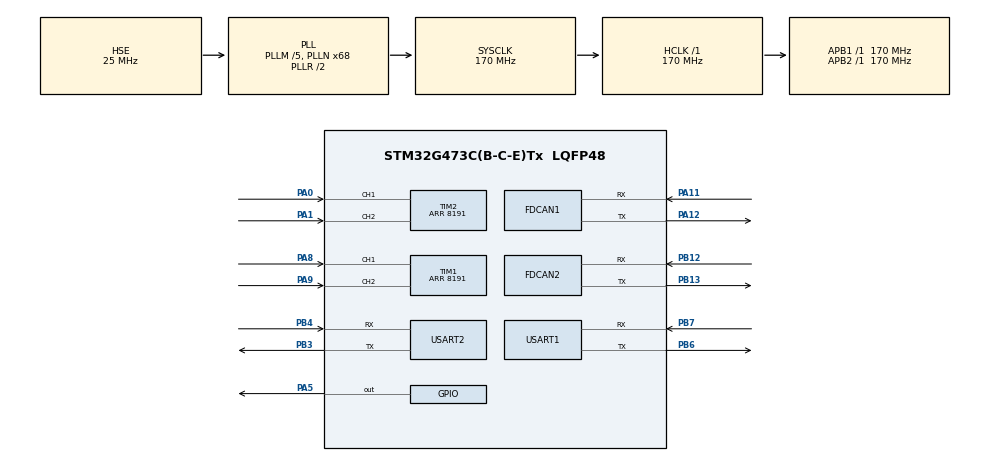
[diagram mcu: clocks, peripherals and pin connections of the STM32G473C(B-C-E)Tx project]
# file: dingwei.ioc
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FDCAN1.CalculateBaudRateNominal=1000000
FDCAN1.CalculateTimeBitNominal=1000
FDCAN1.CalculateTimeQuantumNominal=100.0
FDCAN1.DataPrescaler=8
FDCAN1.DataTimeSeg1=10
FDCAN1.DataTimeSeg2=5
FDCAN1.FrameFormat=FDCAN_FRAME_FD_BRS
FDCAN1.NominalPrescaler=17
FDCAN1.NominalTimeSeg1=6
FDCAN1.NominalTimeSeg2=3
FDCAN2.CalculateBaudRateNominal=1000000
FDCAN2.CalculateTimeBitNominal=1000
FDCAN2.CalculateTimeQuantumNominal=100.0
FDCAN2.DataPrescaler=8
FDCAN2.DataTimeSeg1=10
FDCAN2.DataTimeSeg2=5
FDCAN2.FrameFormat=FDCAN_FRAME_FD_BRS
FDCAN2.NominalPrescaler=17
FDCAN2.NominalTimeSeg1=6
FDCAN2.NominalTimeSeg2=3
Mcu.Family=STM32G4
Mcu.Name=STM32G473C(B-C-E)Tx
Mcu.Package=LQFP48
NVIC.FDCAN1_IT0_IRQn=true\:0\:0\:false\:false\:true\:true\:true\:true
NVIC.FDCAN2_IT0_IRQn=true\:0\:0\:false\:false\:true\:true\:true\:true
NVIC.PriorityGroup=NVIC_PRIORITYGROUP_4
NVIC.TIM1_BRK_TIM15_IRQn=true\:0\:0\:false\:false\:true\:true\:true\:true
NVIC.TIM1_CC_IRQn=true\:0\:0\:false\:false\:true\:true\:true\:true
NVIC.TIM1_TRG_COM_TIM17_IRQn=true\:0\:0\:false\:false\:true\:true\:true\:true
NVIC.TIM1_UP_TIM16_IRQn=true\:0\:0\:false\:false\:true\:true\:true\:true
NVIC.TIM2_IRQn=true\:0\:0\:false\:false\:true\:true\:true\:true
NVIC.USART1_IRQn=true\:0\:0\:false\:false\:true\:true\:true\:true
NVIC.USART2_IRQn=true\:0\:0\:false\:false\:true\:true\:true\:true
PA0.GPIO_ModeDefaultPP=GPIO_MODE_AF_PP
PA0.GPIO_PuPd=GPIO_PULLUP
PA0.Signal=S_TIM2_CH1
PA1.GPIO_PuPd=GPIO_NOPULL
PA1.Signal=S_TIM2_CH2
PA11.Mode=FDCAN_Activate
PA11.Signal=FDCAN1_RX
PA12.Mode=FDCAN_Activate
PA12.Signal=FDCAN1_TX
PA13.Mode=Serial_Wire
PA13.Signal=SYS_JTMS-SWDIO
PA14.Mode=Serial_Wire
PA14.Signal=SYS_JTCK-SWCLK
PA5.Signal=GPIO_Output
PA8.Signal=S_TIM1_CH1
PA9.Signal=S_TIM1_CH2
PB12.Mode=FDCAN_Activate
PB12.Signal=FDCAN2_RX
PB13.Mode=FDCAN_Activate
PB13.Signal=FDCAN2_TX
PB3.Mode=Asynchronous
PB3.Signal=USART2_TX
PB4.Mode=Asynchronous
PB4.Signal=USART2_RX
PB6.Mode=Asynchronous
PB6.Signal=USART1_TX
PB7.Mode=Asynchronous
PB7.Signal=USART1_RX
PF0-OSC_IN.Mode=HSE-External-Oscillator
PF0-OSC_IN.Signal=RCC_OSC_IN
PF1-OSC_OUT.Mode=HSE-External-Oscillator
PF1-OSC_OUT.Signal=RCC_OSC_OUT
ProjectManager.HeapSize=0x200
ProjectManager.StackSize=0x400
ProjectManager.TargetToolchain=MDK-ARM V5.32
RCC.ADC12Freq_Value=170000000
RCC.ADC345Freq_Value=170000000
RCC.AHBFreq_Value=170000000
RCC.APB1Freq_Value=170000000
RCC.APB1TimFreq_Value=170000000
RCC.APB2Freq_Value=170000000
RCC.APB2TimFreq_Value=170000000
RCC.CortexFreq_Value=170000000
RCC.EXTERNAL_CLOCK_VALUE=12288000
RCC.HCLKFreq_Value=170000000
RCC.HSE_VALUE=25000000
RCC.HSI48_VALUE=48000000
RCC.HSI_VALUE=16000000
RCC.LSE_VALUE=32768
RCC.PLLM=RCC_PLLM_DIV5
RCC.PLLN=68
RCC.PLLSourceVirtual=RCC_PLLSOURCE_HSE
RCC.SYSCLKFreq_VALUE=170000000
RCC.SYSCLKSource=RCC_SYSCLKSOURCE_PLLCLK
RCC.USBFreq_Value=170000000
RCC.VCOOutputFreq_Value=340000000
SH.S_TIM1_CH1.0=TIM1_CH1,Encoder_Interface
SH.S_TIM1_CH2.0=TIM1_CH2,Encoder_Interface
SH.S_TIM2_CH1.0=TIM2_CH1,Encoder_Interface
SH.S_TIM2_CH2.0=TIM2_CH2,Encoder_Interface
TIM1.Dithering=Disable
TIM1.EncoderMode=TIM_ENCODERMODE_TI12
TIM1.IC1Filter=15
TIM1.IC2Filter=15
TIM1.PeriodNoDither=8191
TIM2.EncoderMode=TIM_ENCODERMODE_TI12
TIM2.IC1Filter=15
TIM2.IC2Filter=15
TIM2.PeriodNoDither=8191
USART1.VirtualMode-Asynchronous=VM_ASYNC
USART2.VirtualMode-Asynchronous=VM_ASYNC
VP_SYS_VS_DBSignals.Mode=DisableDeadBatterySignals
board=custom

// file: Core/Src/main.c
/* USER CODE BEGIN Header */
/**
  ******************************************************************************
  * @file           : main.c
  * @brief          : Main program body
  ******************************************************************************
  * @attention
  *
  * Copyright (c) 2024 STMicroelectronics.
  * All rights reserved.
  *
  * This software is licensed under terms that can be found in the LICENSE file
  * in the root directory of this software component.
  * If no LICENSE file comes with this software, it is provided AS-IS.
  *
  ******************************************************************************
  */
/* USER CODE END Header */
#include "main.h"
#include "fdcan.h"
#include "tim.h"
#include "usart.h"
#include "gpio.h"

/* USER CODE BEGIN Includes */
#include "math.h"
#include "stdarg.h"
#include "stdio.h"
#include "string.h"
#include "stm32g4xx_hal_fdcan.h"
#include "jiguang_relocate.h"
//#define floatingtest
/* USER CODE END Includes */

/* USER CODE BEGIN PTD */
#define dis1_0 1
#define dis2_0 1
#define dis3_0 1
/* USER CODE END PTD */

void SystemClock_Config(void);

/* USER CODE BEGIN 0 */
//#define jiaozhun

struct GyroResult gyroResult;
struct EncoderResult encoderRes;
struct LocatorResult lcResult;
struct GyroResult timerGyroResult;
struct EncoderResult timerEncResult;
struct LocatorResult timerlcResult;
struct EncoderResult lastEncResult;
struct GyroResult lastGyroResult;
int32_t QEI_pulse[2] = {0};
double vx_dis=0,vy_dis=0,vr_ang=0;
double total_x[5]={0},total_y[5]={0},total_r[5]={0};
int v_n=0;
int send_times=0;
uint8_t restart_flag=0;
int gyroloop=0;
int cnt1=0;
#ifdef jiaozhun
	double floating=0;
	double floating_total=0;
	int cnt=0;
	int cnt_p=0;  //正转计数
	int cnt_n=0;  //反转计数
	int pulse_out=0;
	int jiaozhun_flag=0;
	float ang_total=0;
	int start_flag_jiaozhun=1;
	float gyro_angle_jiaozhun=0;
	float last_angle_jiaozhun=0;
	float gyro_angle_jiaozhun_start=0;
	float del_angle_jiaozhun=0;
	float p_del_angle_jiaozhun_total=0;
	float n_del_angle_jiaozhun_total=0;
	int pulse1_jiaozhun=0;
	int pulse0_jiaozhun=0;
	int pulse1_jiaozhun_start=0;
	int pulse0_jiaozhun_start=0;
	int gyro_start_time_jiaozhun=0;
	int last_out_time=0;
	int now_out_time=0;
	int pulse0_jiaozhun_last=0;
	int pulse1_jiaozhun_last=0;
	#define floating_numbers 10000
#endif
#ifndef jiaozhun
	#define p_rotation_e0 (-11347.224609)
	#define p_rotation_e1 (4312.856445)
	#define n_rotation_e0 (-11465.922852)
	#define n_rotation_e1 (4142.797852)
//	#define p_rotation_e0 (3570.952148)
//	#define p_rotation_e1 (3370.002686)
//	#define n_rotation_e0 (3467.672852)
//	#define n_rotation_e1 (3509.345703)

/*
系数矩阵:
y     e0 e1    0.0139    0.0137
x			     		-0.0137    0.0138
*/
	#define I_mul_x0 (-0.01386101253)
	#define I_mul_x1 (-0.0135421252)
	#define I_mul_y0 (-0.01367515292)
	#define I_mul_y1 ( 0.0139137016)
//	#define I_mul_x0 (-0.01407752897)
//	#define I_mul_x1 ( -0.01417931264)
//	#define I_mul_y0 ( -0.014361242)
//	#define I_mul_y1 (0.01423372233)
#endif

#ifdef jiaozhun
	int p_rotation_e0_total=0;
	int p_rotation_e1_total=0;
	int n_rotation_e0_total=0;
	int n_rotation_e1_total=0;

	float p_rotation_e0=0;
	float p_rotation_e1=0;
	float n_rotation_e0=0;
	float n_rotation_e1=0;

	float I_mul_x0=0;
	float I_mul_x1=0;
	float I_mul_y0=0;
	float I_mul_y1=0;
#endif
//重定向输出   uart3做输入输出交互
void USART_printf(char *fmt, ...)
{
	va_list ap;
	char str[128];

	va_start(ap,fmt);
	vsprintf(str,fmt,ap);
	va_end(ap);
	HAL_UART_Transmit(&huart2, (uint8_t*)str, strlen(str),0xFFFF);
}

//耦合时用到的一些参数
int data_state=0;   	//获取数据状态  0表示挂起  1表示执行
int cal_state=0;		//计算状态		0表示挂起  1表示执行
int gyro_update=0;
int encoder_updata=0;
int gyro_start=0;
int if_gyro_err=0;

volatile float del_encoder0=0;
volatile float del_encoder1=0;

//Pc交互
uint8_t Pc_buffer[2]={0,0};

//陀螺仪数据获取以及姿态解算的一些函数和变量
/**********************************************************************************************************************************/
volatile uint8_t gyro_buffer[33];
uint8_t if_gyro_right=0;
//陀螺仪角度值；
float gyro_angle=0;
float q_angle[4]={1,0,0,0};     //旋转四元数
float Gyro_v[3]={0,0,0};        //分别对应绕x y z旋转的角速度
float Gyro_a[3]={0,0,0};        //分别对应沿x轴 y轴 z轴方向的加速度
float gyro_dealt_t=0;	        //用于存间隔时间
float gyro_start_time=0;		//用于记录初始时间，解决零漂
float gyrotime=0;	        	//记录陀螺仪时间戳
float gyro_lasttime=0;			//记录上次获取陀螺仪的时间戳
int if_gyro_start_first=1;		//初始时间用到的标志位
uint32_t gyro_vel[3]={0,0,0};   //用于接收角速度数据
uint32_t gyro_a[3]={0,0,0};     //用于接收轴向加速度数据
float accex=0;					//用于存储误差积分值
float accey=0;
float accez=0;

//获取陀螺仪数据，三个角速度以及三个轴向加速度
void get_gyro_data()
{
	gyro_vel[0]=(gyro_buffer[5]<<24) | (gyro_buffer[4]<<16)|(gyro_buffer[3]<<8)|gyro_buffer[2];
	gyro_vel[1]=(gyro_buffer[9]<<24) | (gyro_buffer[8]<<16)|(gyro_buffer[7]<<8)|gyro_buffer[6];
	gyro_vel[2]=(gyro_buffer[13]<<24) | (gyro_buffer[12]<<16)|(gyro_buffer[11]<<8)|gyro_buffer[10];
	gyro_a[0]=(gyro_buffer[17]<<24) | (gyro_buffer[16]<<16)|(gyro_buffer[15]<<8)|gyro_buffer[14];
	gyro_a[1]=(gyro_buffer[21]<<24) | (gyro_buffer[20]<<16)|(gyro_buffer[19]<<8)|gyro_buffer[18];
	gyro_a[2]=(gyro_buffer[25]<<24) | (gyro_buffer[24]<<16)|(gyro_buffer[23]<<8)|gyro_buffer[22];
	for(int i=0;i<3;i++)
	{
		Gyro_v[i]=(*((float *)(&gyro_vel[i])))*0.01745329252;  //转化为弧度
		Gyro_a[i]=*((float *)(&gyro_a[i]));
	}
	Gyro_a[0]*=-1;
	Gyro_a[2]*=-1;
	Gyro_v[0]*=-1;
	Gyro_v[2]*=-1;
	 if(Gyro_v[2]>4.98||Gyro_v[2]<-4.98)
	{
		if_gyro_err=1;
		//#ifdef jiaozhun
		USART_printf("err  v=%.5f\n",Gyro_v[2]);
		//#endif
	}
}

//求平方根倒数函数
static float invSqrt(float x)
{
	float halfx=0.5f*x;
	float y=x;
	long  i=*(long*)&y;
	i=0x5f3759df-(i>>1);
	y=*(float*)&i;
	y=y*(1.5f-(halfx*y*y));
	return y;
}

//利用加速度进行陀螺仪误差修正    输入时间差；
void gyro_err_clear(float delat_t )
{
	//加速度归一化

	float xishu=invSqrt(Gyro_a[0]*Gyro_a[0]+Gyro_a[1]*Gyro_a[1]+Gyro_a[2]*Gyro_a[2]);
	Gyro_a[0]*=xishu;
	Gyro_a[1]*=xishu;
	Gyro_a[2]*=xishu;
	//提取姿态矩阵中的重力分量
	float Vx=2*(q_angle[1]*q_angle[3]-q_angle[0]*q_angle[2]);
	float Vy=2*(q_angle[1]*q_angle[0]+q_angle[3]*q_angle[2]);
	float Vz=1-2*(q_angle[1]*q_angle[1]+q_angle[2]*q_angle[2]);
	//USART_printf(" q0=%f\n",q_angle[0]);
	//求出姿态误差
	float ex=Gyro_a[1]*Vz-Gyro_a[2]*Vy;
	float ey=Gyro_a[2]*Vx-Gyro_a[0]*Vz;
	float ez=Gyro_a[0]*Vy-Gyro_a[1]*Vx;
	//USART_printf(" %f\n",ez);
	//误差积分
	float ki=0.001;
	float kp=0.01;

	accex+=ex*ki*delat_t;
	accey+=ey*ki*delat_t;
	accez+=ez*ki*delat_t;

	//角速度修正
	Gyro_v[0]+=kp*ex+accex;
	Gyro_v[1]+=kp*ey+accey;
	Gyro_v[2]+=kp*ez+accez;
	//USART_printf(" v2=%f\n",Gyro_v[2]);

}

//四元数数据更新，输入间隔时间；
void q_angle_update(float delat_t )
{
	q_angle[0]=q_angle[0]+0.5*delat_t*(-1*Gyro_v[0]*q_angle[1]-Gyro_v[1]*q_angle[2]-Gyro_v[2]*q_angle[3]);
	q_angle[1]=q_angle[1]+0.5*delat_t*( 1*Gyro_v[0]*q_angle[0]-Gyro_v[1]*q_angle[3]+Gyro_v[2]*q_angle[2]);
	q_angle[2]=q_angle[2]+0.5*delat_t*( 1*Gyro_v[0]*q_angle[3]+Gyro_v[1]*q_angle[0]-Gyro_v[2]*q_angle[1]);
	q_angle[3]=q_angle[3]+0.5*delat_t*(-1*Gyro_v[0]*q_angle[2]+Gyro_v[1]*q_angle[1]+Gyro_v[2]*q_angle[0]);

	//四元数归一化
	float xishu=invSqrt(q_angle[0]*q_angle[0]+q_angle[1]*q_angle[1]+q_angle[2]*q_angle[2]+q_angle[3]*q_angle[3]);
	for(int i=0;i<=3;i++)
	{
		q_angle[i]*=xishu;
	}
}

//陀螺仪角度的反解
float get_gyro_angle(int i)
{
	float g1=0,g2=0,g3=0,g4=0,g5=0;
  float angle[3]={0};

	g1=2*(q_angle[1]*q_angle[3]-q_angle[0]*q_angle[2]);
	g2=2*(q_angle[1]*q_angle[0]+q_angle[3]*q_angle[2]);
	g3=   q_angle[0]*q_angle[0]-q_angle[1]*q_angle[1]-q_angle[2]*q_angle[2]+q_angle[3]*q_angle[3];
	g4=2*(q_angle[1]*q_angle[2]+q_angle[3]*q_angle[0]);
	g5=   q_angle[0]*q_angle[0]+q_angle[1]*q_angle[1]-q_angle[2]*q_angle[2]-q_angle[3]*q_angle[3];
	//角度值分别对应俯仰角、翻滚角、偏航角；
	angle[0]=-1*asinf(g1);
	angle[1]=atanf(g2/g3);
	angle[2]=atan2f(g4,g5);
	//USART_printf("g5=%f\n",g4/g5);
	return angle[i];
}
//陀螺仪数据更新 ，包含角度值和时间戳的更新
void gyrodata_update()
{
	//USART_printf("get");
	get_gyro_data();
	gyrotime=HAL_GetTick();
	if(if_gyro_start_first)  //获取初始时刻
	{
		gyro_start_time=gyrotime;
		if_gyro_start_first=0;
	}
	gyro_dealt_t=(gyrotime-gyro_lasttime)*0.001;
	gyro_err_clear(gyro_dealt_t);
	q_angle_update(gyro_dealt_t);
	gyro_angle=get_gyro_angle(2);
	//gyro_angle-=0.000617*(gyrotime-gyro_start_time)*0.001; //0.000832 //0.000154
	gyro_angle-=-0.000071*(gyrotime-gyro_start_time)*0.001;
	//USART_printf("angz %f \n",gyro_angle);
	//Gyroz=Gyroz+0.2056-(gyrotime-gyro_lasttime)*0.001*0.0031;
 	if (gyro_angle >= pi)
	{
			gyroloop++;
			gyro_angle -= 2*pi;
	}
	else if (gyro_angle <= -pi)
	{
			gyroloop--;
			gyro_angle += 2*pi;
	}
	gyro_lasttime=gyrotime;
	if_gyro_right=0;
	//y = -0.0434x + 0.0031  角度制下零漂
}

/**********************************************************************************************************************************/

//自动装载次数，正转溢出+1  反转溢出-1；
volatile int32_t ENCODER_overflow_cnt[2] = {-1,-1};
TIM_TypeDef* ENCODER_TIM[2]={TIM1, TIM2};

//计算总脉冲值
int32_t Get_Encoder_Pulse_Count(int i)
{
	return (ENCODER_overflow_cnt[i] * (1 + (ENCODER_TIM[i]->ARR)) + ENCODER_TIM[i]->CNT);    //得到总脉冲数
}

float pos_x=0;
float pos_y=0;
float sum_del_encoder0=0;
float sum_del_encoder1=0;
float sum_del_angle=0;

//void process_locator_data()
//{
//	static double last_encoder_0=0;
//	static double last_encoder_1=0;
//	static float last_angle=0;
//
//	float del_angle=gyro_angle-last_angle;
//	if(del_angle>pi||del_angle<-pi)
//	{
//		if(last_angle<0)            // del_angle > pi  朝着角度减小的方向旋转一个小于pi的角度
//		{
//			last_angle+=2*pi;
//		}
//		else                        //del_angle<-pi    朝着角度增加的方向旋转一个小于pi的角度
//		{
//			last_angle-=2*pi;
//		}
//	}
//	del_angle=gyro_angle-last_angle;     //得到一个正负号和规定角度正负号同相的    小于pi的角度
//	float now_encoder_0=Get_Encoder_Pulse_Count(0);
//	float now_encoder_1=Get_Encoder_Pulse_Count(1);
//	if(del_angle<0.000000001&&del_angle>-0.000000001)
//	{
//		del_encoder0+=(now_encoder_0-last_encoder_0);
//		del_encoder1+=(now_encoder_1-last_encoder_1);
//		last_encoder_0=now_encoder_0;
//		last_encoder_1=now_encoder_1;
//
//		data_state=0;
//		return;
//	}
//	else
//	{
//		sum_del_angle+=del_angle;            //总的角度误差    以及   -pi到pi的归化

//		if(sum_del_angle>pi)
//		{
//			sum_del_angle-=2*pi;
//		}
//		if(sum_del_angle<-pi)
//		{
//			sum_del_angle+=2*pi;
//		}
//		if(del_angle>0)
//		{
//			 del_encoder0+=(now_encoder_0-last_encoder_0-p_rotation_e0*del_angle);
//			 del_encoder1+=(now_encoder_1-last_encoder_1-p_rotation_e1*del_angle);
//		}
//		else
//		{
//			del_encoder0+=(now_encoder_0-last_encoder_0-n_rotation_e0*del_angle);
//			del_encoder1+=(now_encoder_1-last_encoder_1-n_rotation_e1*del_angle);
//		}
//		//now_encoder_0、1  计算中不能被修改
//		last_encoder_0=now_encoder_0;
//		last_encoder_1=now_encoder_1;
//		last_angle=gyro_angle;
//	}
//}
void HAL_UART_RxCpltCallback(UART_HandleTypeDef*huart)
{
//	USART_printf("get");
	if(huart->Instance == USART1)
	{
		//USART_printf("ok");
		if(!if_gyro_right)
		{
//			USART_printf("get3");
			if(gyro_buffer[0]==0xBD)
			{
				if_gyro_right=1;
				//USART_printf("get3");
			}
		}
		else
		{
	//		USART_printf("get2");
			if(!(gyro_buffer[0]==0xDB&&gyro_buffer[1]==0x0A))
			{
				//USART_printf("get2");
				if_gyro_right=0;
				return;
			}
			else
			{
				//USART_printf("wait cal\n");
				data_state=1;
				if(cal_state==1)
				{
					//USART_printf("wait cal\n");
					data_state=0;
					return;
				}
				//USART_printf("gggg");
				gyro_update=1;
				gyrodata_update();
				gyroResult.rotation=gyro_angle;
				gyroResult.loop=gyroloop;
				gyroResult.timeStamp = GenerateTimeStamp();
				double pul0 = Get_Encoder_Pulse_Count(0);
				double pul1 = Get_Encoder_Pulse_Count(1);
				encoderRes.distance[0] += pul0-QEI_pulse[0];
				encoderRes.distance[1] += pul1-QEI_pulse[1];
				QEI_pulse[0] = pul0;
				QEI_pulse[1] = pul1;
				encoderRes.timeStamp = GenerateTimeStamp();
				cnt1++;
				//process_locator_data();
			}
			data_state=0;
		}
		#ifndef jiaozhun
		return;
		#endif
	}
	if(huart->Instance == USART2)
	{

		#ifdef jiaozhun
		if(Pc_buffer[0]=='1'&&Pc_buffer[1]=='s')
		{
			jiaozhun_flag=1;
			start_flag_jiaozhun=1;
			USART_printf("start floating jiaozhun!");

		}
		else if(Pc_buffer[0]=='2'&&Pc_buffer[1]=='s')
		{
			jiaozhun_flag=2;
			start_flag_jiaozhun=1;
			USART_printf("start encoder jiaozhun!");
			pulse_out=1;

		}
		else if(Pc_buffer[0]=='2'&&Pc_buffer[1]=='e')
		{
			jiaozhun_flag=2;
			pulse_out=2;

		}
		else if(Pc_buffer[0]=='3'&&Pc_buffer[1]=='s')
		{
			jiaozhun_flag=3;
			start_flag_jiaozhun=1;
			pulse_out=1;
			USART_printf("start locator jiaozhun!");

		}
		else if(Pc_buffer[0]=='3'&&Pc_buffer[1]=='e')
		{
			jiaozhun_flag=3;
			pulse_out=2;

		}
		else if(Pc_buffer[0]=='4'&&Pc_buffer[1]=='s')
		{
			jiaozhun_flag=4;
			start_flag_jiaozhun=1;
			pulse_out=1;
			USART_printf("start locator jiaozhun!");

		}
		else if(Pc_buffer[0]=='4'&&Pc_buffer[1]=='e')
		{
			jiaozhun_flag=4;
			pulse_out=2;

		}
		else{
			USART_printf("1err\n");
		}
		#endif
        HAL_UART_Receive_IT(&huart2, (uint8_t*) Pc_buffer, 2);
	}
}

//E0 TIM1 A8 A9
//E1 TIM2 A0 A1

void  HAL_TIM_PeriodElapsedCallback(TIM_HandleTypeDef *htim)
{
	//encoder  0   脉冲数
 	if(htim->Instance==TIM1)
	{

		//USART_printf("in\n");
		if(__HAL_TIM_IS_TIM_COUNTING_DOWN(&htim1))
		{
			--ENCODER_overflow_cnt[0];
			//USART_printf("11  %d\n",ENCODER_overflow_cnt[0]);
		}
		else
		{
			++ENCODER_overflow_cnt[0];
			//USART_printf("22  %d\n",ENCODER_overflow_cnt[0]);
		}
//		float pul0 = Get_Encoder_Pulse_Count(0);
//		float pul1 = Get_Encoder_Pulse_Count(1);
//		encoderRes.distance[0] += pul0-QEI_pulse[0];
//		encoderRes.distance[1] += pul1-QEI_pulse[1];
//    QEI_pulse[0] = pul0;
//		QEI_pulse[1] = pul1;
//		encoderRes.timeStamp = GenerateTimeStamp();
	}
	//encoder 1  脉冲数
	if(htim->Instance==TIM2)
	{
		//process_locator_data();
		if(__HAL_TIM_IS_TIM_COUNTING_DOWN(&htim2))
		{
			--ENCODER_overflow_cnt[1];
		}
		else
		{
			++ENCODER_overflow_cnt[1];
		}
//		float pul0 = Get_Encoder_Pulse_Count(0);
//		float pul1 = Get_Encoder_Pulse_Count(1);
//		encoderRes.distance[0] += pul0-QEI_pulse[0];
//		encoderRes.distance[1] += pul1-QEI_pulse[1];
//    QEI_pulse[0] = pul0;
//		QEI_pulse[1] = pul1;
//		encoderRes.timeStamp = GenerateTimeStamp();
	}
}
/*************************************************************/
void LocatorUpdate()
{

	cal_state=1;   //计算坐标时  cal_state=1 now_state=0;
	if(data_state==1)
	{
		cal_state=0;
		//USART_printf("wait get\n");
		return;
	}

	if(gyro_update==0) //cal_state[1]=0;
	{
		cal_state=0;
		//USART_printf("wait gyro\n");
		return;
	}
	else gyro_update=0;

	lcResult.timeStamp = GenerateTimeStamp();
	double dx,dy,dr,sinr,cosr;
	double dz;
	struct GyroResult readGyro = gyroResult;
	struct EncoderResult readEnc = encoderRes;
  struct LocatorResult readlc = lcResult;
  //计算速度
	double deltaTime = TIMESTAMP2SECOND(readlc.timeStamp,timerlcResult.timeStamp);
	if(deltaTime>LOCATOR_MIN_TIMEGAP)
	{
		deltaTime*=5;
		total_x[v_n]=vx_dis;
		total_y[v_n]=vy_dis;
		total_r[v_n]=vr_ang;
		v_n=(v_n==4)?0:(v_n+1);
		for(int n=0;n<=4;n++)
		{
			lcResult.vx+=total_x[n];
			lcResult.vy+=total_y[n];
			lcResult.vAng+=total_r[n];
		}
		lcResult.vx=(total_x[0]+total_x[1]+total_x[2]+total_x[3]+total_x[4])/deltaTime;
		lcResult.vy=(total_y[0]+total_y[1]+total_y[2]+total_y[3]+total_y[4])/deltaTime;
		lcResult.vAng=(total_r[0]+total_r[1]+total_r[2]+total_r[3]+total_r[4])/deltaTime;
		vx_dis=0;
		vy_dis=0;
		vr_ang=0;
		timerlcResult = readlc;

	}

	//dx dy dr
	//dr=readGyro.rotation-lastGyroResult.rotation;
	dr=(readGyro.loop*2*pi+readGyro.rotation)-(lastGyroResult.loop*2*pi+lastGyroResult.rotation);
	if (dr >= pi) dr -= 2*pi;
	else if (dr <= -pi) dr += 2*pi;

	//USART_printf("DR=%.6f",dr);
  lcResult.r += dr;
	vr_ang+=dr;
	if (lcResult.r >= pi) lcResult.r -= 2*pi;
	else if (lcResult.r <= -pi) lcResult.r += 2*pi;

	dx = readEnc.distance[0]-lastEncResult.distance[0];
	dy = readEnc.distance[1]-lastEncResult.distance[1];

	if(dr>0)
	{
		 dx -= p_rotation_e0*dr;
		 dy -= p_rotation_e1*dr;
	}
	else
	{
		 dx -= n_rotation_e0*dr;
		 dy -= n_rotation_e1*dr;
	}

	dz = dx;//using as a buffer
	dx=I_mul_x0*dz+I_mul_x1*dy;
	dy=I_mul_y0*dz+I_mul_y1*dy;

	  //  USART_printf("dx %f   dy %f    r %f\n",dx,dy,lcResult.r);
	dz = dx;//using as a buffer
	sinr = sin(lcResult.r);
	cosr = cos(lcResult.r);
	dx = cosr*dz-sinr*dy;
	//r>0
	dy = sinr*dz+cosr*dy;
//	if(dx>0.1)
//	{
//	USART_printf("dx%f\n",dx);
//	}
	lcResult.x += dx;
	lcResult.y += dy;
	vx_dis+=dx;
	vy_dis+=dy;
	lastEncResult = readEnc;
	lastGyroResult = readGyro;
	if(restart_flag==1)
	{
		//LocatorSystemInitialize();
		lcResult.x=0;
		lcResult.y=0;
		lcResult.r=0;
		restart_flag=0;
	}
	cal_state=0;

}
//float cal_time=0;
//float last_caltime=0;
////获取坐标  posx 和 posy
//void cal_loc()
//{
//	cal_state=1;   //计算坐标时  cal_state=1 now_state=0;
//	now_state=0;
//	if(data_state==1 &&now_state==0)
//	{
//		cal_state=0;
//		return;
//	}
//
//	if(gyro_update==0) //cal_state[1]=0;
//	{
//		cal_state=0;
//		return;
//	}
//	else gyro_update=0;           //update!=0 在此之后变为0
//
//	cal_time=HAL_GetTick();       //获取当前计算时间
//
//	//计算此时的dealt x、y
//	float delx=I_mul_x0*del_encoder0+I_mul_x1*del_encoder1;
//	float dely=I_mul_y0*del_encoder0+I_mul_y1*del_encoder1;
//	sum_del_encoder0+=del_encoder0;
//	sum_del_encoder1+=del_encoder1;
//	del_encoder0=0;
//	del_encoder1=0;
//
//
//
//	pos_x+=	cos(gyro_angle)*delx;   //把正交的两个码盘方向的dealt量 分解到定位坐标系
//	pos_x+=-sin(gyro_angle)*dely;
//	pos_y+=	cos(gyro_angle)*dely;
//	pos_y+=	sin(gyro_angle)*delx;
//
//	last_caltime=cal_time;
//	cal_state=0;
//}

//计算此时角度到上次角度中较小的那个角
//float cal_sum_angle(void)
//{
//	static float last_angle=0;
//	static float sum_angle=0;
//	float angle=gyro_angle;
//	float delta=angle-last_angle;
//	if(delta>pi||delta<-pi)
//	{
//		if(last_angle<0)  last_angle+=2*pi;
//		else last_angle-=2*pi;
//		sum_angle+=(angle-last_angle);
//		last_angle=angle;

//	}
//	else
//	{
//		sum_angle+=delta;
//		last_angle=angle;
//	}
//	return sum_angle;
//}
void LocatorSystemInitialize()
{
    gyroResult.timeStamp = 0;
    gyroResult.rotation = 0;
	  encoderRes.distance[0]=0;
	  encoderRes.distance[1]=0;
	  lcResult.timeStamp=0;
    lcResult.x = 0;
    lcResult.y = 0;
    lcResult.r = 0;
	  lcResult.vx = 0;
    lcResult.vy = 0;
    lcResult.vAng = 0;
	  lastEncResult = encoderRes;
    lastGyroResult = gyroResult;
}
void send_lc(float x ,float y ,float r,float vx,float vy){
	static uint8_t data_byte[8];
	uint8_t datas='a';
//	if(if_gyro_err)
//	{
//		data_byte[0]=0xBD;
//		if_gyro_err=0;
//	}
//	else{

//	}
     int16_t tempx=(int16_t)x;
	uint8_t* tmp1 = (uint8_t*)&tempx;
	data_byte[0] = tmp1[0];
	data_byte[1] = tmp1[1];
    int16_t tempy=(int16_t)y;
	uint8_t* tmp2 = (uint8_t*)&tempy;
	data_byte[2] = tmp2[0];
	data_byte[3] = tmp2[1];
	uint8_t* tmp3 = (uint8_t*)&r;
	data_byte[4] = tmp3[0];
	data_byte[5] = tmp3[1];
	data_byte[6] = tmp3[2];
	data_byte[7] = tmp3[3];

//创建FDCAN消息结构
    uint8_t data_byte1[8]={};
    FDCAN_TxHeaderTypeDef TxHeader;
    TxHeader.Identifier = 0x123;
    TxHeader.IdType = FDCAN_STANDARD_ID;
    TxHeader.TxFrameType = FDCAN_DATA_FRAME;
//    TxHeader.DataLength = FDCAN_DLC_BYTES_24;
    TxHeader.DataLength = FDCAN_DLC_BYTES_8;
    TxHeader.ErrorStateIndicator = FDCAN_ESI_ACTIVE;
    TxHeader.BitRateSwitch = FDCAN_BRS_OFF;
    TxHeader.FDFormat = FDCAN_CLASSIC_CAN;
    TxHeader.TxEventFifoControl = FDCAN_NO_TX_EVENTS;
    TxHeader.MessageMarker = 0;
    // 发送数据
    if (HAL_FDCAN_AddMessageToTxFifoQ(&hfdcan1, &TxHeader, data_byte) != HAL_OK)
    {
        // 错误处理
		USART_printf("NO, SB!\n");
        Error_Handler();
    }
}
//	float x=0.01,y=0.01,r=0.01;
/*************************************************************/
void HAL_UART_ErrorCallback(UART_HandleTypeDef *huart)
{
	  if(huart == &huart1)
    {
        __HAL_UNLOCK(huart);
        HAL_UART_Receive_IT(&huart1, (uint8_t*) gyro_buffer, 1);
    }
		else if(huart == &huart2)
		{
        __HAL_UNLOCK(huart);
        HAL_UART_Receive_IT(&huart2, (uint8_t*) Pc_buffer, 2);
		}
}

/* USER CODE END 0 */

int main(void)
{

  /* MCU Configuration--------------------------------------------------------*/

  /* Reset of all peripherals, Initializes the Flash interface and the Systick. */
  HAL_Init();

  /* Configure the system clock */
  SystemClock_Config();

  /* Initialize all configured peripherals */
  MX_GPIO_Init();
  MX_FDCAN1_Init();
  MX_FDCAN2_Init();
  MX_TIM1_Init();
  MX_TIM2_Init();
  MX_USART1_UART_Init();
  MX_USART2_UART_Init();
  /* USER CODE BEGIN 2 */
	//可直插的串口为串口3   用于调试发送信息和对外发送定位信息    二者只能使用一个
//	HAL_TIM_Encoder_Start(&htim1, TIM_CHANNEL_ALL);
//	HAL_TIM_Encoder_Start(&htim2, TIM_CHANNEL_ALL);
//	HAL_TIM_Encoder_Start_IT(&htim2,TIM_CHANNEL_1|TIM_CHANNEL_2);
//	HAL_TIM_Encoder_Start_IT(&htim1,TIM_CHANNEL_1|TIM_CHANNEL_2);
	HAL_TIM_Base_Start_IT(&htim1);
	HAL_TIM_Base_Start_IT(&htim2);
	HAL_UART_Receive_IT(&huart1, (uint8_t*) gyro_buffer, 1);
	HAL_UART_Receive_IT(&huart2, (uint8_t*) Pc_buffer, 2);

	//时间线定义  第一次获取时间
	int time0=HAL_GetTick();
	int time1=time0;
	int time2=time0;
	int time3=time0;

  /* USER CODE END 2 */

  /* Infinite loop */
  /* USER CODE BEGIN WHILE */
  while (1)
  {
		//重新获取时间
		//gyro_cal();
		LocatorUpdate();
		time0=HAL_GetTick();
		//cal_loc();

		int32_t pulse0=Get_Encoder_Pulse_Count(0);
		int32_t pulse1=Get_Encoder_Pulse_Count(1);
		//不同处理时间间隔下进行操作
		if(time0-time1>=1000)
		{
			//对外发送信息时不能存在任何打印
	//USART_printf("position x%.6f y%.6f r%.6f \n",lcResult.x,lcResult.y,lcResult.r);
//			USART_printf("pulse0 %d\n",pulse0);
//			USART_printf("pulse1 %d\n",pulse1);
		//	USART_printf("angz %f\n",gyro_angle);

//			USART_printf("%d\n",pulse1);
//			USART_printf("%d\n",ENCODER_overflow_cnt[0]);
//			USART_printf("%d\n",__HAL_TIM_IS_TIM_COUNTING_DOWN(&htim1));
			//USART_printf("%d\n",ENCODER_TIM[0]->CNT);
//			if(flag)
//			{
//				USART_printf("angz %f    time  %d\n",Gyroz, time0);
//				USART_printf("angz %f    time  %d\n",Gyroz_a, time0);
//				USART_printf("angx %f    time  %d\n",Gyrox_a, time0);
//				USART_printf("angy %f    time  %d\n",Gyroy_a, time0);
//				USART_printf("buff10  %d\n",gyro_buffer[10]);
//				USART_printf("buff11  %d\n",gyro_buffer[11]);
//				USART_printf("buff12  %d\n",gyro_buffer[12]);
//				USART_printf("buff13  %d\n",gyro_buffer[13]);
//			}
			time1=time0;
		}
		if(time0-time2>=5)
		{
			#ifdef jiaozhun
				go_jiaozhun();
			#endif
			time2=time0;
		}
		if(time0-time3>=20)
		{
//			x+=0.01;
//			y+=0.02;
//			r-=0.01;
			//#ifndef jiaozhun
			//
//			USART_printf("position x%.6f y%.6f r%.6f \n",pos_x,pos_y,gyro_angle);
      //      relocate_cal();
			send_lc(lcResult.x,lcResult.y,lcResult.r,0,0);	  //输出串口  串口3   调试时不打开
			//#endif
			time3=time0;
		}
    /* USER CODE END WHILE */

  }
}

void SystemClock_Config(void)
{
  RCC_OscInitTypeDef RCC_OscInitStruct = {0};
  RCC_ClkInitTypeDef RCC_ClkInitStruct = {0};

  /** Configure the main internal regulator output voltage
  */
  HAL_PWREx_ControlVoltageScaling(PWR_REGULATOR_VOLTAGE_SCALE1_BOOST);

  /** Initializes the RCC Oscillators according to the specified parameters
  * in the RCC_OscInitTypeDef structure.
  */
  RCC_OscInitStruct.OscillatorType = RCC_OSCILLATORTYPE_HSE;
  RCC_OscInitStruct.HSEState = RCC_HSE_ON;
  RCC_OscInitStruct.PLL.PLLState = RCC_PLL_ON;
  RCC_OscInitStruct.PLL.PLLSource = RCC_PLLSOURCE_HSE;
  RCC_OscInitStruct.PLL.PLLM = RCC_PLLM_DIV5;
  RCC_OscInitStruct.PLL.PLLN = 68;
  RCC_OscInitStruct.PLL.PLLP = RCC_PLLP_DIV2;
  RCC_OscInitStruct.PLL.PLLQ = RCC_PLLQ_DIV2;
  RCC_OscInitStruct.PLL.PLLR = RCC_PLLR_DIV2;
  if (HAL_RCC_OscConfig(&RCC_OscInitStruct) != HAL_OK)
  {
    Error_Handler();
  }

  /** Initializes the CPU, AHB and APB buses clocks
  */
  RCC_ClkInitStruct.ClockType = RCC_CLOCKTYPE_HCLK|RCC_CLOCKTYPE_SYSCLK
                              |RCC_CLOCKTYPE_PCLK1|RCC_CLOCKTYPE_PCLK2;
  RCC_ClkInitStruct.SYSCLKSource = RCC_SYSCLKSOURCE_PLLCLK;
  RCC_ClkInitStruct.AHBCLKDivider = RCC_SYSCLK_DIV1;
  RCC_ClkInitStruct.APB1CLKDivider = RCC_HCLK_DIV1;
  RCC_ClkInitStruct.APB2CLKDivider = RCC_HCLK_DIV1;

  if (HAL_RCC_ClockConfig(&RCC_ClkInitStruct, FLASH_LATENCY_4) != HAL_OK)
  {
    Error_Handler();
  }
}

/* USER CODE BEGIN 4 */
#ifdef jiaozhun
void go_jiaozhun(void)
{
	now_out_time=HAL_GetTick();
	//静止校准零漂
		if(jiaozhun_flag==1)
		{

			if(start_flag_jiaozhun)
			{
				gyro_angle_jiaozhun_start=lcResult.r;
				start_flag_jiaozhun=0;
				gyro_start_time_jiaozhun=HAL_GetTick();
			}
			gyro_angle_jiaozhun=lcResult.r-gyro_angle_jiaozhun_start;
			cnt++;
			if(now_out_time-last_out_time>400){
					USART_printf("gyro_angle=%f\n",gyro_angle_jiaozhun);
				last_out_time=now_out_time;
			}

			//floating_total+=gyro_angle_jiaozhun;
			//调整校准零漂时间
			if(cnt>floating_numbers&&jiaozhun_flag==1)
			{
				int gyro_end_time_jiaozhun=HAL_GetTick();
				floating=gyro_angle_jiaozhun/((gyro_end_time_jiaozhun-gyro_start_time_jiaozhun)*0.001);
				USART_printf("floating=%f\n",floating);
				USART_printf("time=%d\n",gyro_end_time_jiaozhun-gyro_start_time_jiaozhun);
				USART_printf("floating=%f\n",floating);
				USART_printf("floating=%f\n",floating);
				jiaozhun_flag=0;
				USART_printf("end floating jiaozhun!\n");
			}
		}
	//只平动   校准  脉冲和距离之间的换算关系   以及码盘坐标系和定位坐标系的换算关系
		if(jiaozhun_flag==2)
		{
			//获取开始时刻的码盘脉冲值
			if(start_flag_jiaozhun)
			{
				pulse1_jiaozhun_start=Get_Encoder_Pulse_Count(1);
				pulse0_jiaozhun_start=Get_Encoder_Pulse_Count(0);
				start_flag_jiaozhun=0;
			}
			pulse1_jiaozhun=Get_Encoder_Pulse_Count(1)-pulse1_jiaozhun_start;
			pulse0_jiaozhun=Get_Encoder_Pulse_Count(0)-pulse0_jiaozhun_start;
			if(pulse_out)
			{
				if(now_out_time-last_out_time>400){
				USART_printf("pulse0=%d\n",pulse0_jiaozhun);
				USART_printf("pulse1=%d\n",pulse1_jiaozhun);
				last_out_time=now_out_time;
			}

			}
			if(pulse_out==2)
			{
				USART_printf("endpulse0=%d  endpulse1=%d\n",pulse0_jiaozhun,pulse1_jiaozhun);
				USART_printf("end edncoder jiaozhun!\n");
				pulse_out=0;
			}
		}
		//只自转  校准  绕中心旋转的脉冲变化   分为正转和反转两部分 分别去校准两组系数
		//顺着陀螺仪角度值增大的方向旋转
		if(jiaozhun_flag==3)
		{
			if(start_flag_jiaozhun)
			{
				pulse1_jiaozhun_start=Get_Encoder_Pulse_Count(1);
				pulse0_jiaozhun_start=Get_Encoder_Pulse_Count(0);
				gyro_angle_jiaozhun_start=lcResult.r;
				last_angle_jiaozhun=gyro_angle_jiaozhun_start;
//				pulse0_jiaozhun_last=pulse0_jiaozhun_start;
//				pulse1_jiaozhun_last=pulse1_jiaozhun_start;
//				p_rotation_e0_total=0;
//				p_rotation_e1_total=0;
				p_del_angle_jiaozhun_total=0;
				start_flag_jiaozhun=0;
//				cnt_p=0;
				del_angle_jiaozhun=0;
			}

			pulse0_jiaozhun=Get_Encoder_Pulse_Count(0);
			pulse1_jiaozhun=Get_Encoder_Pulse_Count(1);

			del_angle_jiaozhun=lcResult.r-last_angle_jiaozhun;
//			int del_encoder0_jiaozhun=(pulse0_jiaozhun-pulse0_jiaozhun_last);
//			int del_encoder1_jiaozhun=(pulse1_jiaozhun-pulse1_jiaozhun_last);

			if(del_angle_jiaozhun>pi||del_angle_jiaozhun<-pi)
			{
				if(last_angle_jiaozhun<0)            // del_angle > pi  朝着角度减小的方向旋转一个小于pi的角度
				{
					last_angle_jiaozhun+=2*pi;
				}
				else                        //del_angle<-pi    朝着角度增加的方向旋转一个小于pi的角度
				{
					last_angle_jiaozhun-=2*pi;
				}
			}
			del_angle_jiaozhun=lcResult.r-last_angle_jiaozhun;     //得到一个正负号和规定角度正负号同相的    小于pi的角度

			if(del_angle_jiaozhun>0)
			{
//				 cnt_p++;
//				 p_rotation_e0_total+=(del_encoder0_jiaozhun/del_angle_jiaozhun);
//				 p_rotation_e1_total+=(del_encoder1_jiaozhun/del_angle_jiaozhun);
				  p_del_angle_jiaozhun_total+=del_angle_jiaozhun;
			}
			if(pulse_out)
			{
				if(now_out_time-last_out_time>400){
				USART_printf("pulse0=%d\n",pulse0_jiaozhun);
				USART_printf("pulse1=%d\n",pulse1_jiaozhun);
				USART_printf("gyro_angle=%f\n",lcResult.r);
					last_out_time=now_out_time;
				}
			}
			if(pulse_out==2)
			{
//				p_rotation_e0=p_rotation_e0_total/cnt_p;
//				p_rotation_e1=p_rotation_e1_total/cnt_p;
				p_rotation_e0=(pulse0_jiaozhun-pulse0_jiaozhun_start)/p_del_angle_jiaozhun_total;
				p_rotation_e1=(pulse1_jiaozhun-pulse1_jiaozhun_start)/p_del_angle_jiaozhun_total;
				USART_printf("p_rotation_e0=%f\n",p_rotation_e0);
				USART_printf("p_rotation_e1=%f\n",p_rotation_e1);
				USART_printf("p_total_ang=%f\n",p_del_angle_jiaozhun_total);
				USART_printf("go next locator jiaozhun!\n");
				pulse_out=0;
			}
			last_angle_jiaozhun=lcResult.r;
//			pulse0_jiaozhun_last=pulse0_jiaozhun;
//			pulse1_jiaozhun_last=pulse1_jiaozhun;
		}

		//顺着陀螺仪角度值减小的方向旋转
		if(jiaozhun_flag==4)
		{
			if(start_flag_jiaozhun)
			{
				pulse1_jiaozhun_start=Get_Encoder_Pulse_Count(1);
				pulse0_jiaozhun_start=Get_Encoder_Pulse_Count(0);
				gyro_angle_jiaozhun_start=lcResult.r;
				last_angle_jiaozhun=gyro_angle_jiaozhun_start;
//				pulse0_jiaozhun_last=pulse0_jiaozhun_start;
//				pulse1_jiaozhun_last=pulse1_jiaozhun_start;
//				n_rotation_e0_total=0;
//				n_rotation_e1_total=0;
				n_del_angle_jiaozhun_total=0;
				start_flag_jiaozhun=0;
				del_angle_jiaozhun=0;
//				cnt_n=0;
			}

			pulse0_jiaozhun=Get_Encoder_Pulse_Count(0);
			pulse1_jiaozhun=Get_Encoder_Pulse_Count(1);

			del_angle_jiaozhun=lcResult.r-last_angle_jiaozhun;
//			int del_encoder0_jiaozhun=(pulse0_jiaozhun-pulse0_jiaozhun_last);
//			int del_encoder1_jiaozhun=(pulse1_jiaozhun-pulse1_jiaozhun_last);

			if(del_angle_jiaozhun>pi||del_angle_jiaozhun<-pi)
			{
				if(last_angle_jiaozhun<0)            // del_angle > pi  朝着角度减小的方向旋转一个小于pi的角度
				{
					last_angle_jiaozhun+=2*pi;
				}
				else                        //del_angle<-pi    朝着角度增加的方向旋转一个小于pi的角度
				{
					last_angle_jiaozhun-=2*pi;
				}
			}
			del_angle_jiaozhun=lcResult.r-last_angle_jiaozhun;     //得到一个正负号和规定角度正负号同相的    小于pi的角度

			if(del_angle_jiaozhun<0)
			{
//				 cnt_n++;
//				 n_rotation_e0_total+=(del_encoder0_jiaozhun/del_angle_jiaozhun);
//				 n_rotation_e1_total+=(del_encoder1_jiaozhun/del_angle_jiaozhun);
				 n_del_angle_jiaozhun_total+=del_angle_jiaozhun;
			}
			if(pulse_out)
			{
				if(now_out_time-last_out_time>400){
				USART_printf("pulse0=%d\n",pulse0_jiaozhun);
				USART_printf("pulse1=%d\n",pulse1_jiaozhun);
				USART_printf("gyro_angle=%f\n",lcResult.r);
					last_out_time=now_out_time;
				}
			}
			if(pulse_out==2)
			{
				n_rotation_e0=(pulse0_jiaozhun-pulse0_jiaozhun_start)/n_del_angle_jiaozhun_total;
				n_rotation_e1=(pulse1_jiaozhun-pulse1_jiaozhun_start)/n_del_angle_jiaozhun_total;
				USART_printf("n_rotation_e0=%f\n",n_rotation_e0);
				USART_printf("n_rotation_e1=%f\n",n_rotation_e1);
				USART_printf("n_total_ang=%f\n",n_del_angle_jiaozhun_total);
				USART_printf("end locator jiaozhun!\n");
				pulse_out=0;
			}
			last_angle_jiaozhun=lcResult.r;
//			pulse0_jiaozhun_last=pulse0_jiaozhun;
//			pulse1_jiaozhun_last=pulse1_jiaozhun;
		}
}
#endif
/* USER CODE END 4 */

void Error_Handler(void)
{
  __disable_irq();
  while (1)
  {
  }
}
